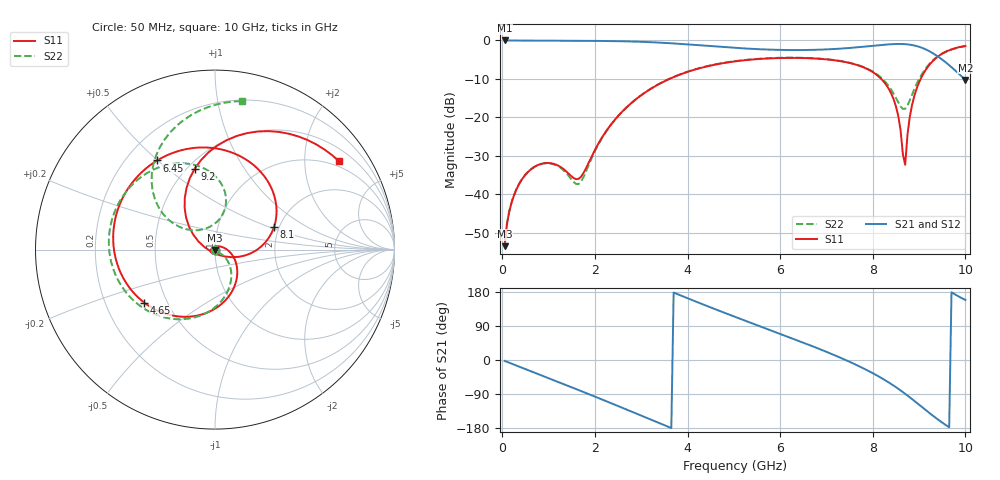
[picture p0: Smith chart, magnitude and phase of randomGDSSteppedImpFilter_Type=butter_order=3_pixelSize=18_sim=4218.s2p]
! freq	dB(S11)	phase(S11)	dB(S12)	phase(S12)
!  dB(S21)	phase(S21)	dB(S22)	phase(S22)
!S-par simulation data
#  GHz  S  DB  R 50
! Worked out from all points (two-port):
!   200 points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, 50 MHz to 10 GHz, reference 50 ohm
!   highest |S21| = 0.00 dB at 50 MHz (marker M1); lowest = -10.3 dB at 10 GHz (marker M2)
!   |S21| within 3 dB of the highest: start of sweep to 9.253 GHz
!   lowest |S11| = -53.5 dB at 50 MHz (marker M3), VSWR 1.00, Z = 50 - j0.212 ohm
!   |S11| at or under -10 dB: start of sweep to 3.609 GHz; 8.182 GHz to 9.034 GHz (852 MHz wide, 9.9 % of centre)
!   |S22| runs from -53.3 to -1.5 dB; largest |S21 - S12| = 0
!   S11 on the Smith chart (normalised r, x): 50 MHz: 1.00, -0.00; 4.65 GHz: 0.37, -0.29; 6.45 GHz: 0.33, +0.50; 8.1 GHz: 1.88, +0.53; 9.2 GHz: 0.54, +0.62; 10 GHz: 0.83, +2.92
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0.05  -53.45 -89.1  -0.00 -2.4  -0.00 -2.4  -53.33 -87.3
0.1  -47.72 -92.0  -0.01 -4.8  -0.01 -4.8  -47.70 -89.6
0.25  -40.35 -103.3  -0.02 -12.1  -0.02 -12.1  -40.26 -98.0
0.6  -33.68 -126.5  -0.04 -28.8  -0.04 -28.8  -33.66 -112.8
1.75  -34.52 72.0  -0.10 -84.3  -0.10 -84.3  -35.60 -58.5
2.4  -21.05 -11.8  -0.17 -116.4  -0.17 -116.4  -21.09 -40.5
3.4  -11.24 -74.4  -0.57 -167.0  -0.57 -167.0  -11.20 -80.1
4.65  -6.16 -143.0  -1.61 131.5  -1.61 131.5  -6.10 -134.1
5.05  -5.40 -163.9  -1.95 112.8  -1.95 112.8  -5.33 -150.5
5.75  -4.67 159.9  -2.38 80.6  -2.38 80.6  -4.61 -178.4
6.45  -4.55 122.9  -2.50 48.2  -2.50 48.2  -4.50 154.0
6.7  -4.66 109.3  -2.45 36.2  -2.45 36.2  -4.61 144.0
7.5  -5.85 62.4  -1.95 -4.7  -1.95 -4.7  -5.81 110.2
8.1  -9.09 20.7  -1.27 -41.4  -1.27 -41.4  -8.89 83.5
8.35  -12.68 -0.6  -1.01 -59.6  -1.01 -59.6  -11.96 76.4
8.55  -19.60 -23.9  -0.91 -75.9  -0.91 -75.9  -16.09 85.4
8.7  -32.30 -152.4  -0.97 -89.1  -0.97 -89.1  -17.73 118.8
8.75  -24.46 166.8  -1.02 -93.8  -1.02 -93.8  -16.87 131.0
8.85  -16.65 145.4  -1.19 -103.2  -1.19 -103.2  -14.04 145.0
9.2  -6.68 104.2  -2.65 -137.6  -2.65 -137.6  -6.41 136.7
9.55  -3.10 70.0  -5.45 -169.4  -5.45 -169.4  -3.09 110.7
10  -1.43 35.4  -10.27 158.3  -10.27 158.3  -1.50 79.6
